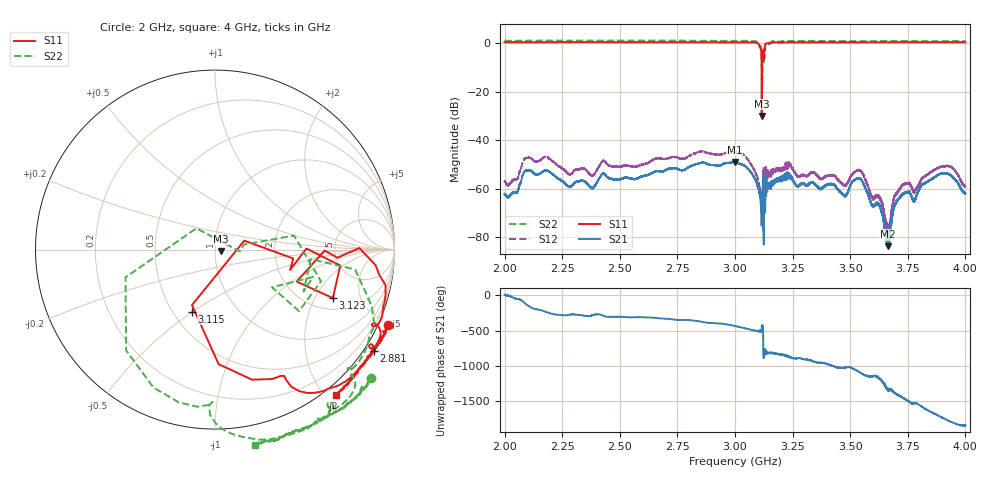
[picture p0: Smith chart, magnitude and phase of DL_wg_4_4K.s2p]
!Agilent Technologies,N5230C,SG49000117,A.08.50.07
!Agilent N5230C: A.08.50.07
!Date: Tuesday, May 07, 2024 00:11:11
!Correction: S11(Full 2 Port(1,2))
!S21(Full 2 Port(1,2))
!S12(Full 2 Port(1,2))
!S22(Full 2 Port(1,2))
!S2P File: Measurements: S11, S21, S12, S22:
# Hz S  MA  R 50
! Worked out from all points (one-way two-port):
!   20001 points, 2 GHz to 4 GHz, reference 50 ohm
!   highest |S21| = -48.85 dB at 2.998 GHz (marker M1); lowest = -83.6 dB at 3.664 GHz (marker M2)
!   lowest |S11| = -29.9 dB at 3.116 GHz (marker M3), VSWR 1.07, Z = 53.2 - j0.834 ohm
!   |S11| at or under -10 dB: 3.115451 GHz to 3.117208 GHz (1.757 MHz wide, 0.0564 % of centre)
!   |S22| runs from -20.4 to 1.1 dB; largest |S21 - S12| = 0.0032
!   S11 on the Smith chart (normalised r, x): 2 GHz: -0.60, -4.73; 2.881 GHz: -0.30, -3.39; 3.115 GHz: 0.62, -0.50; 3.123 GHz: 2.60, -2.83; 4 GHz: -0.14, -2.12
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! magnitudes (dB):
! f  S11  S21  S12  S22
! 2 GHz  0.4  -62.1  -57.0  1.0
! 2.098 GHz  0.4  -52.3  -47.1  1.0
! 2.333 GHz  0.5  -56.5  -51.6  1.1
! 2.667 GHz  0.4  -52.6  -47.4  1.1
! 2.881 GHz  0.4  -49.8  -45.2  1.0
! 2.998 GHz  0.4  -48.8  -44.8  1.0
! 3 GHz  0.4  -49.0  -44.8  1.0
! 3.067 GHz  0.4  -52.8  -49.4  0.9
! 3.115 GHz  -8.7  -69.4  -70.4  -5.2
! 3.116 GHz  -29.9  -70.9  -70.8  -11.6
! 3.123 GHz  -3.0  -54.8  -51.6  -4.7
! 3.141 GHz  0.0  -58.9  -54.0  0.1
! 3.227 GHz  0.4  -53.2  -48.8  0.9
! 3.333 GHz  0.4  -57.2  -53.1  1.0
! 3.477 GHz  0.4  -62.8  -58.7  0.9
! 3.543 GHz  0.4  -55.9  -52.4  0.9
! 3.664 GHz  0.4  -83.6  -78.9  0.9
! 3.667 GHz  0.4  -80.9  -75.9  0.9
! 3.693 GHz  0.4  -66.6  -62.9  0.9
! 3.735 GHz  0.4  -61.7  -57.8  0.9
! 3.914 GHz  0.4  -53.6  -50.5  0.9
! 4 GHz  0.5  -61.8  -59.1  0.9
